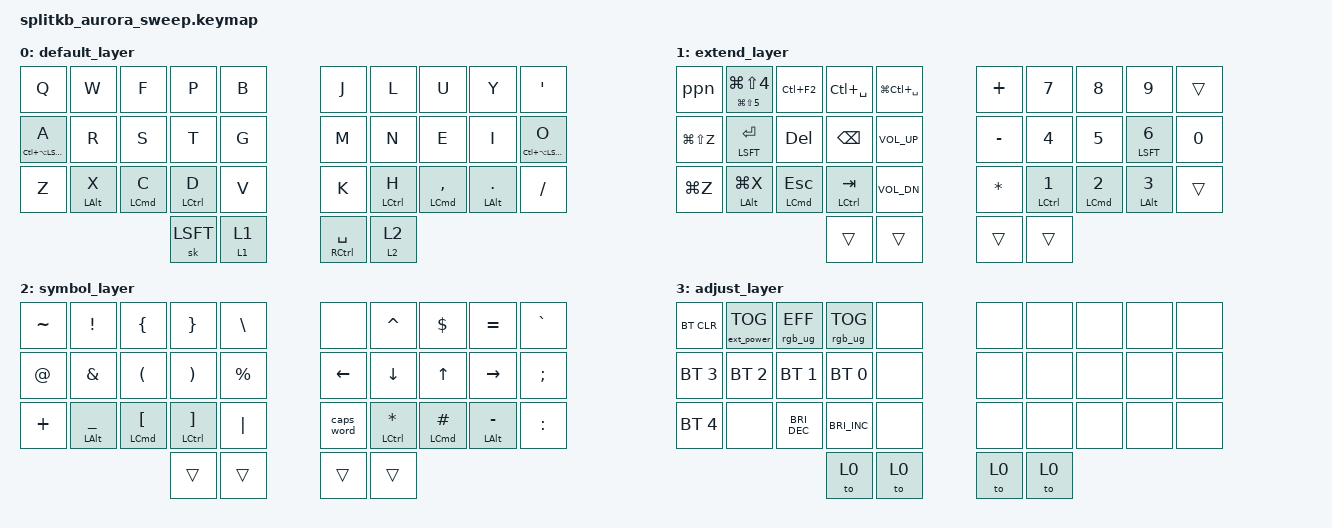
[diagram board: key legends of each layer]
/*
 * Copyright (c) 2022 The ZMK Contributors
 *
 * SPDX-License-Identifier: MIT
 */

#include <behaviors.dtsi>
#include <dt-bindings/zmk/keys.h>
#include <dt-bindings/zmk/bt.h>
#include <dt-bindings/zmk/rgb.h>
#include <dt-bindings/zmk/outputs.h>
#include <dt-bindings/zmk/ext_power.h>

&led_strip {
    chain-length = <23>;
};

&mt {
    flavor = "tap-preferred";
    tapping_term_ms = <200>;
};

&sl {
    release-after-ms = <600>;
    quick-release;
};

&sk {
    release-after-ms = <600>;
    quick-release;
};

&caps_word {
    continue-list = <UNDERSCORE MINUS>;
};

/ { 
    combos {
        compatible = "zmk,combos";

        /************************************
	********** Global combos  ***********
	*************************************/

	combo_preferences {
            timeout-ms = <40>;
            key-positions = <28 29>;
            bindings = <&kp LG(CMMA)>;
            layers = <0>;
        };

	combo_esc {
            timeout-ms = <40>;
            key-positions = <16 17>;
            bindings = <&kp ESC>;
            layers = <0>;
        };
        
        combo_return {
            timeout-ms = <50>;
            key-positions = <17 18>;
            bindings = <&kp RETURN>;
            layers = <0>;
        };
        
        combo_save {
            timeout-ms = <40>;
            key-positions = <12 13>;
            bindings = <&kp LC(S)>;
            layers = <0>;
        };
	
	combo_command_save {
            timeout-ms = <40>;
            key-positions = <2 3>;
            bindings = <&kp LG(S)>;
            layers = <0>;
        }; 
        
        combo_copy {
            timeout-ms = <40>;
            key-positions = <13 22>;
            bindings = <&kp LG(C)>;
            layers = <0>;
        };
        
        combo_paste {
            timeout-ms = <40>;
            key-positions = <12 23>;
            bindings = <&kp LG(V)>;
            layers = <0>;
        };

	combo_command_find {
            timeout-ms = <40>;
            key-positions = <1 2>;
            bindings = <&kp LG(F)>;
            layers = <0>;
        };

     	combo_app_switcher {
            timeout-ms = <40>;
            key-positions = <22 23>;
            bindings = <&kp LG(TAB)>;
            layers = <0>;
        };

     	combo_win_app_switcher {
            timeout-ms = <40>;
            key-positions = <21 23>;
            bindings = <&kp LA(TAB)>;
            layers = <0>;
        };

        combo_switch_win {
            timeout-ms = <40>;
            key-positions = <10 11>;
            bindings = <&kp LG(GRAVE)>;
            layers = <0>;
        };

        combo_ctrl_b {
            timeout-ms = <40>;
            key-positions = <11 12>;
            bindings = <&kp LC(B)>;
            layers = <0>;
        };

        combo_bol {
            timeout-ms = <40>;
            key-positions = <6 7>;
            bindings = <&kp LG(LEFT)>;
            layers = <0>;
        };
        
        combo_eol {
            timeout-ms = <40>;
            key-positions = <7 8>;
            bindings = <&kp LG(RIGHT)>;
            layers = <0>;
        };

        combo_word_back {
            timeout-ms = <40>;
            key-positions = <7 16>;
            bindings = <&kp LA(LEFT)>;
            layers = <0>;
        };

        combo_word_forward {
            timeout-ms = <40>;
            key-positions = <7 18>;
            bindings = <&kp LA(RIGHT)>;
            layers = <0>;
        };

        combo_home {
            timeout-ms = <40>;
            key-positions = <6 17>;
            bindings = <&kp HOME>;
            layers = <0>;
        };

        combo_end {
            timeout-ms = <40>;
            key-positions = <8 17>;
            bindings = <&kp END>;
            layers = <0>;
        };

        combo_page_down {
            timeout-ms = <40>;
            key-positions = <26 27>;
            bindings = <&kp PAGE_DOWN>;
            layers = <0>;
        };

        combo_page_up {
            timeout-ms = <40>;
            key-positions = <27 28>;
            bindings = <&kp PAGE_UP>;
            layers = <0>;
        };

	/*************************************
	******  Browser combos (Chrome)  *****
	*************************************/

        combo_tab_next {
            timeout-ms = <40>;
            key-positions = <2 13>;
            bindings = <&kp LC(TAB)>;
            layers = <0>;
        };

        combo_tab_previous {
            timeout-ms = <40>;
            key-positions = <2 11>;
            bindings = <&kp LC(LS(TAB))>;
            layers = <0>;
        };

        combo_tab_swap_left {
            timeout-ms = <40>;
            key-positions = <1 12>;
            bindings = <&kp LC(LS(PAGE_UP))>;
            layers = <0>;
        };

        combo_tab_swap_right {
            timeout-ms = <40>;
            key-positions = <3 12>;
            bindings = <&kp LC(LS(PAGE_DOWN))>;
            layers = <0>;
        };
 
        combo_www_back {
            timeout-ms = <40>;
            key-positions = <1 13>;
            bindings = <&kp LG(LEFT_BRACKET)>;
            layers = <0>;
        };
        
        combo_www_forward {
            timeout-ms = <40>;
            key-positions = <13 21>;
            bindings = <&kp LG(RIGHT_BRACKET)>;
            layers = <0>;
        };
        
        combo_inspect {
            timeout-ms = <40>;
            key-positions = <21 22>;
            bindings = <&kp LG(LA(I))>;
            layers = <0>;
        };
        
     /*************************************
	******  Code specific combos   *******
	**************************************/ 

        combo_focus_left {
            timeout-ms = <35>;
            key-positions = <17 26>;
            bindings = <&kp LC(H)>;
            layers = <0>;
        };

        combo_focus_right {
            timeout-ms = <50>;
            key-positions = <17 28>;
            bindings = <&kp LC(L)>;
            layers = <0>;
        };
	
        combo_focus_up {
            timeout-ms = <40>;
            key-positions = <16 27>;
            bindings = <&kp LC(J)>;
            layers = <0>;
        };

        combo_focus_down {
            timeout-ms = <40>;
            key-positions = <18 27>;
            bindings = <&kp LC(K)>;
            layers = <0>;
        };

	combo_to_3 {
            timeout-ms = <50>;
            key-positions = <1 2 3>;
            bindings = <&to 3>;
            layers = <0>;
        };
    };

    macros { 
        paste_new_incog_win: paste_new_incog_win {
            label = "paste_new_incog_win";
            compatible = "zmk,behavior-macro";
            #binding-cells = <0>;
            bindings
                = <&macro_press &kp LG(LSFT)>
                , <&macro_tap &kp N>
                , <&macro_release &kp LG(LSFT)>
                , <&macro_press &kp LCMD>
                , <&macro_tap &kp V>
                , <&macro_release &kp LCMD>
                ;
        }; 		
    };

    behaviors {

        ppn: tap_dance_0 {
            compatible = "zmk,behavior-tap-dance";
            label = "TAP_DANCE_0";
            #binding-cells = <0>;
            tapping-term-ms = <300>;
            bindings = <&kp C_PP>, <&kp C_NEXT>;
        };
				
	mo_sl: momentary_sticky_layer {
	  	compatible = "zmk,behavior-hold-tap";
		label = "MOMENTARY_STICKY_LAYER";
	  	#binding-cells = <2>;
		flavor = "hold-preferred";
		tapping-term-ms = <200>;
	  	bindings = <&mo>, <&sl>;
		};	
    };

    keymap {
        compatible = "zmk,keymap";
                
        default_layer {
            bindings = <
                &kp Q &kp W &kp F &kp P &kp B &kp J &kp L &kp U &kp Y &kp QUOT  
                &mt LC(LA(LSHIFT)) A &kp R &kp S &kp T &kp G &kp M &kp N &kp E &kp I &mt LC(LA(LSHIFT)) O
                &kp Z &mt LALT X &mt LCMD C &mt LCTRL D &kp V &kp K &mt LCTRL H &mt LCMD CMMA &mt LALT DOT &kp SLASH
                &sk LSFT &mo_sl 1 1 &mt RCTRL SPC &mo_sl 2 2
            >;
		};

        extend_layer {
            bindings = <
                &ppn &mt LG(LS(NUM_5)) LG(LS(NUM_4)) &kp LC(F2) &kp LC(SPC) &kp LG(LC(SPC)) &kp PLUS &kp NUM_7 &kp NUM_8 &kp NUM_9 &trans
		&kp LG(LS(Z)) &mt LSFT RET &kp DEL &kp BSPC &kp C_VOL_UP &kp MINUS &kp NUM_4  &kp NUM_5 &mt LSFT NUM_6 &kp NUM_0  
                &kp LG(Z) &mt LALT LG(X) &mt LCMD ESC &mt LCTRL TAB &kp C_VOL_DN &kp STAR &mt LCTRL NUM_1 &mt LCMD NUM_2 &mt LALT NUM_3 &trans 
	        &trans &trans &trans &trans
            >;
		};
		
	symbol_layer {
            bindings = <
                &kp TILDE &kp EXCL &kp LBRC  &kp RBRC  &kp BSLH &none &kp CARET &kp DOLLAR &kp EQUAL &kp GRAVE 
                &kp AT &kp AMPERSAND  &kp LPAR  &kp RPAR  &kp PERCENT &kp LEFT &kp DOWN &kp UP &kp RIGHT &kp SEMICOLON
                &kp PLUS &mt LALT UNDER &mt LCMD LBKT &mt LCTRL RBKT &kp PIPE &caps_word &mt LCTRL STAR &mt LCMD HASH &mt LALT MINUS &kp COLON
                &trans &trans &trans &trans 
            >;
		};	

    adjust_layer {
            bindings = <
                &bt BT_CLR &ext_power EP_TOG &rgb_ug RGB_EFF &rgb_ug RGB_TOG 	&none 	&none &none &none &none &none
                &bt BT_SEL 3 &bt BT_SEL 2 &bt BT_SEL 1 &bt BT_SEL 0  		&none	&none &none &none &none &none 
                &bt BT_SEL 4 &none &kp C_BRIGHTNESS_DEC &kp C_BRIGHTNESS_INC 	&none   &none &none &none &none &none
                &to 0 &to 0 &to 0 &to 0

        >;
        };
		
	};
};
